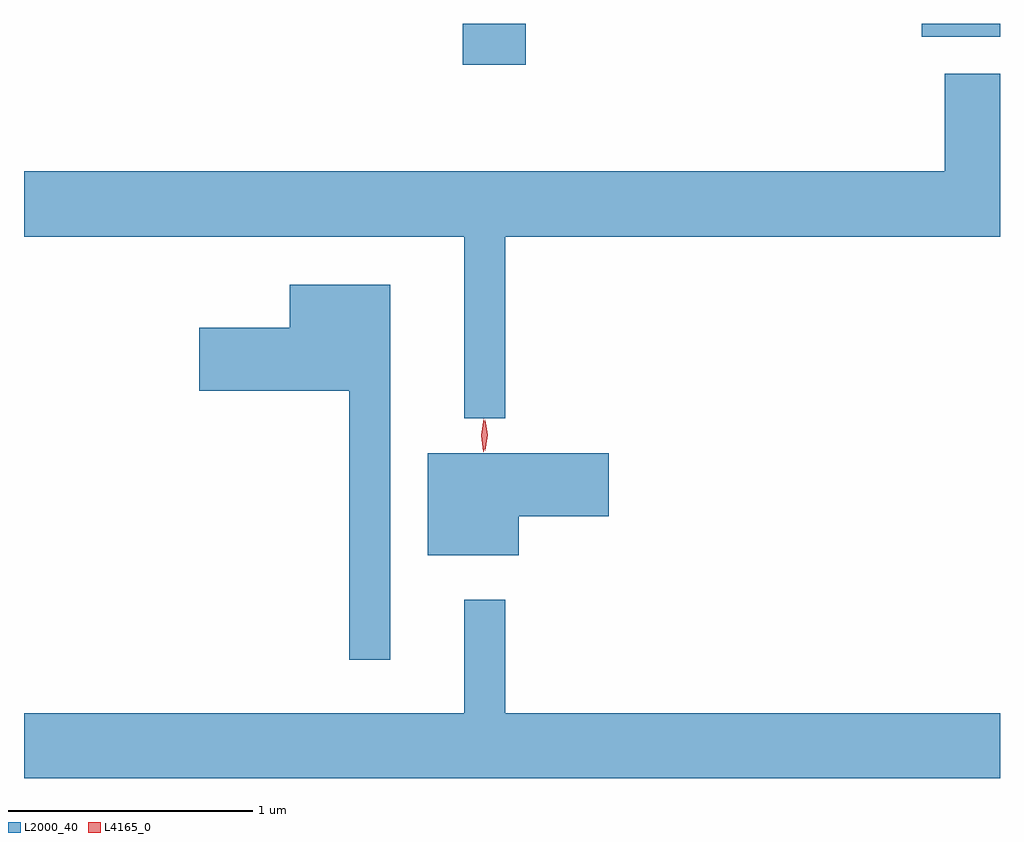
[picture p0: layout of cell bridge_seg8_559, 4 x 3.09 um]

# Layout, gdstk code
import gdstk
lib = gdstk.Library(unit=1e-6, precision=1e-09)
def R(c, l, rs):  # rectangles x0, y0, x1, y1
    for r in rs: c.add(gdstk.rectangle(r[:2], r[2:], *l))
def P(c, l, *ps):  # polygons
    for p in ps: c.add(gdstk.Polygon(p, *l))
L2000_40 = (2000, 40)
L4165_0 = (4165, 0)

bridge_seg8_559 = lib.new_cell('bridge_seg8_559')
R(bridge_seg8_559, L2000_40, [(572.316,1812.701,572.574,1812.87), (574.196,1812.816,574.517,1812.87)])
P(bridge_seg8_559, L2000_40, [(572.489,1811.996),(574.517,1811.996),(574.517,1812.664),(574.291,1812.664),(574.291,1812.264),(570.517,1812.264),(570.517,1811.996),(572.321,1811.996),(572.321,1811.253),(572.489,1811.253)],
  [(572.019,1811.799),(571.606,1811.799),(571.606,1811.624),(571.236,1811.624),(571.236,1811.366),(571.851,1811.366),(571.851,1810.263),(572.019,1810.263)],
  [(572.544,1810.851),(572.914,1810.851),(572.914,1811.109),(572.171,1811.109),(572.171,1810.691),(572.544,1810.691)],
  [(574.517,1810.044),(572.489,1810.044),(572.489,1810.508),(572.321,1810.508),(572.321,1810.044),(570.517,1810.044),(570.517,1809.776),(574.517,1809.776)])
P(bridge_seg8_559, L4165_0, [(572.4,1811.114),(572.4,1811.114),(572.391,1811.182),(572.402,1811.25),(572.402,1811.25),(572.402,1811.25),(572.411,1811.182),(572.401,1811.114)],
  [(572.407,1811.12),(572.398,1811.184),(572.407,1811.246),(572.408,1811.247),(572.408,1811.246),(572.418,1811.184),(572.408,1811.12),(572.408,1811.12)])

lib.write_gds('bridge_seg8_559.gds')
